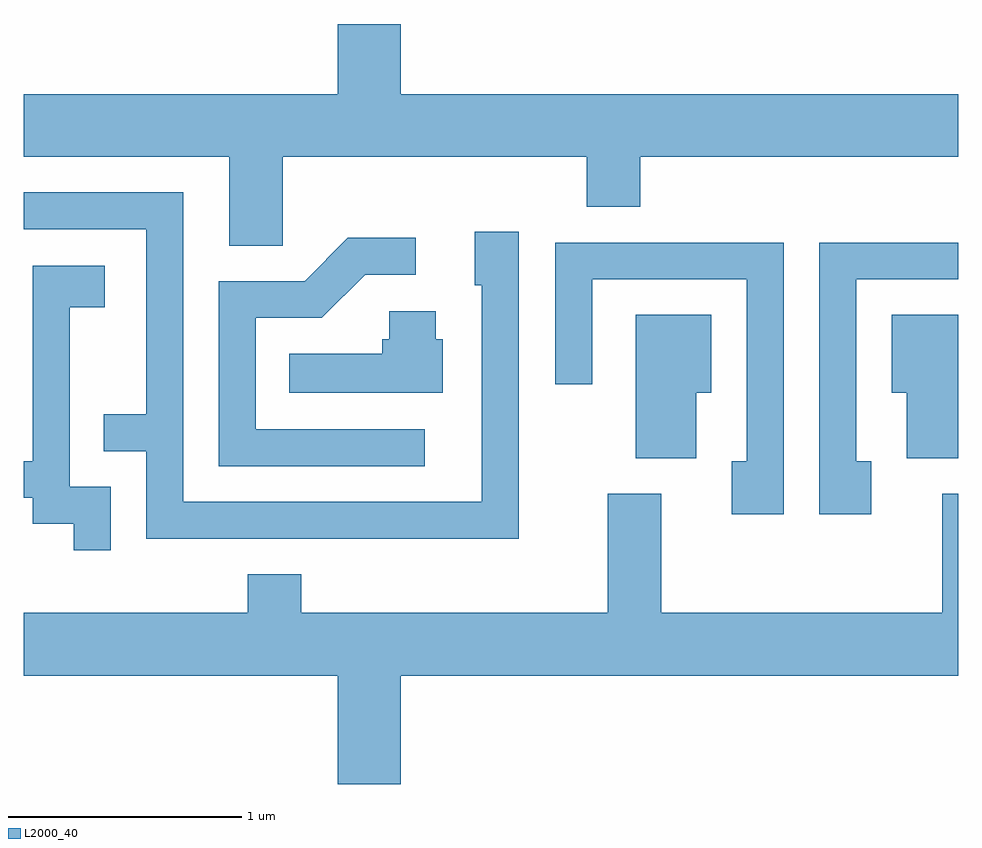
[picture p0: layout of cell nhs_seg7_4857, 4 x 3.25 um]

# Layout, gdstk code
import gdstk
lib = gdstk.Library(unit=1e-6, precision=1e-09)
def P(c, l, *ps):  # polygons
    for p in ps: c.add(gdstk.Polygon(p, *l))
L2000_40 = (2000, 40)

nhs_seg7_4857 = lib.new_cell('nhs_seg7_4857')
P(nhs_seg7_4857, L2000_40, [(334.719,1760.936),(336.021,1760.936),(336.021,1760.721),(336.249,1760.721),(336.249,1760.936),(337.611,1760.936),(337.611,1761.204),(335.224,1761.204),(335.224,1761.504),(334.956,1761.504),(334.956,1761.204),(333.611,1761.204),(333.611,1760.936),(334.491,1760.936),(334.491,1760.556),(334.719,1760.556)],
  [(335.729,1760.614),(335.541,1760.614),(335.541,1760.386),(335.571,1760.386),(335.571,1759.459),(334.294,1759.459),(334.294,1760.784),(333.611,1760.784),(333.611,1760.626),(334.136,1760.626),(334.136,1759.834),(333.953,1759.834),(333.953,1759.676),(334.136,1759.676),(334.136,1759.301),(335.729,1759.301)],
  [(335.328,1759.769),(334.604,1759.769),(334.604,1760.246),(334.887,1760.246),(335.072,1760.431),(335.288,1760.431),(335.288,1760.589),(334.999,1760.589),(334.814,1760.404),(334.446,1760.404),(334.446,1759.611),(335.328,1759.611)],
  [(337.239,1759.634),(337.174,1759.634),(337.174,1760.411),(337.611,1760.411),(337.611,1760.569),(337.016,1760.569),(337.016,1759.406),(337.239,1759.406)],
  [(336.864,1760.569),(335.886,1760.569),(335.886,1759.963),(336.044,1759.963),(336.044,1760.411),(336.706,1760.411),(336.706,1759.634),(336.641,1759.634),(336.641,1759.406),(336.864,1759.406)],
  [(333.984,1759.524),(333.809,1759.524),(333.809,1760.291),(333.959,1760.291),(333.959,1760.469),(333.651,1760.469),(333.651,1759.634),(333.611,1759.634),(333.611,1759.476),(333.651,1759.476),(333.651,1759.366),(333.826,1759.366),(333.826,1759.253),(333.984,1759.253)],
  [(335.404,1760.154),(335.374,1760.154),(335.374,1760.274),(335.176,1760.274),(335.176,1760.154),(335.146,1760.154),(335.146,1760.094),(334.748,1760.094),(334.748,1759.926),(335.404,1759.926)],
  [(337.611,1760.259),(337.326,1760.259),(337.326,1759.926),(337.391,1759.926),(337.391,1759.646),(337.611,1759.646)],
  [(336.489,1759.926),(336.554,1759.926),(336.554,1760.259),(336.231,1760.259),(336.231,1759.646),(336.489,1759.646)],
  [(335.224,1758.716),(337.611,1758.716),(337.611,1759.494),(337.541,1759.494),(337.541,1758.984),(336.339,1758.984),(336.339,1759.494),(336.111,1759.494),(336.111,1758.984),(334.799,1758.984),(334.799,1759.149),(334.571,1759.149),(334.571,1758.984),(333.611,1758.984),(333.611,1758.716),(334.956,1758.716),(334.956,1758.252),(335.224,1758.252)])

lib.write_gds('nhs_seg7_4857.gds')
